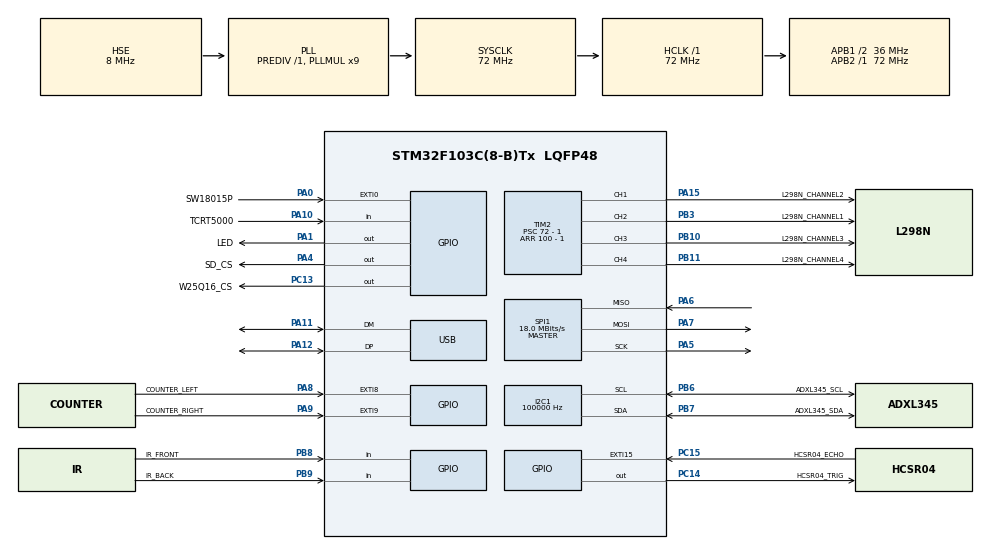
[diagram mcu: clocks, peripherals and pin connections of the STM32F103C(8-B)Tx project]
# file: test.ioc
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I2C1.ClockSpeed=100000
Mcu.Family=STM32F1
Mcu.Name=STM32F103C(8-B)Tx
Mcu.Package=LQFP48
NVIC.EXTI15_10_IRQn=true\:0\:0\:false\:false\:true\:true\:true
NVIC.EXTI9_5_IRQn=true\:0\:0\:false\:false\:true\:true\:true
NVIC.PriorityGroup=NVIC_PRIORITYGROUP_4
NVIC.USB_LP_CAN1_RX0_IRQn=true\:0\:0\:false\:false\:true\:false\:true
PA0-WKUP.GPIO_Label=SW18015P
PA0-WKUP.GPIO_ModeDefaultEXTI=GPIO_MODE_IT_FALLING
PA0-WKUP.GPIO_PuPd=GPIO_PULLUP
PA0-WKUP.Signal=GPXTI0
PA1.GPIO_Label=LED
PA1.Signal=GPIO_Output
PA10.GPIO_Label=TCRT5000
PA10.GPIO_PuPd=GPIO_PULLUP
PA10.Signal=GPIO_Input
PA11.Mode=Device
PA11.Signal=USB_DM
PA12.Mode=Device
PA12.Signal=USB_DP
PA13.Mode=Serial_Wire
PA13.Signal=SYS_JTMS-SWDIO
PA14.Mode=Serial_Wire
PA14.Signal=SYS_JTCK-SWCLK
PA15.GPIO_Label=L298N_CHANNEL2
PA15.Signal=S_TIM2_CH1_ETR
PA4.GPIO_Label=SD_CS
PA4.PinState=GPIO_PIN_SET
PA4.Signal=GPIO_Output
PA5.Mode=Full_Duplex_Master
PA5.Signal=SPI1_SCK
PA6.Mode=Full_Duplex_Master
PA6.Signal=SPI1_MISO
PA7.Mode=Full_Duplex_Master
PA7.Signal=SPI1_MOSI
PA8.GPIO_Label=COUNTER_LEFT
PA8.GPIO_ModeDefaultEXTI=GPIO_MODE_IT_RISING
PA8.GPIO_PuPd=GPIO_PULLDOWN
PA8.Signal=GPXTI8
PA9.GPIO_Label=COUNTER_RIGHT
PA9.GPIO_PuPd=GPIO_PULLDOWN
PA9.Signal=GPXTI9
PB10.GPIO_Label=L298N_CHANNEL3
PB10.Signal=S_TIM2_CH3
PB11.GPIO_Label=L298N_CHANNEL4
PB11.Signal=S_TIM2_CH4
PB3.GPIO_Label=L298N_CHANNEL1
PB3.Signal=S_TIM2_CH2
PB6.GPIO_Label=ADXL345_SCL
PB6.GPIO_Pu=GPIO_PULLUP
PB6.Mode=I2C
PB6.Signal=I2C1_SCL
PB7.GPIO_Label=ADXL345_SDA
PB7.GPIO_Pu=GPIO_PULLUP
PB7.Mode=I2C
PB7.Signal=I2C1_SDA
PB8.GPIO_Label=IR_FRONT
PB8.GPIO_PuPd=GPIO_PULLUP
PB8.Signal=GPIO_Input
PB9.GPIO_Label=IR_BACK
PB9.GPIO_PuPd=GPIO_PULLUP
PB9.Signal=GPIO_Input
PC13-TAMPER-RTC.GPIO_Label=W25Q16_CS
PC13-TAMPER-RTC.PinState=GPIO_PIN_SET
PC13-TAMPER-RTC.Signal=GPIO_Output
PC14-OSC32_IN.GPIO_Label=HCSR04_TRIG
PC14-OSC32_IN.Signal=GPIO_Output
PC15-OSC32_OUT.GPIO_Label=HCSR04_ECHO
PC15-OSC32_OUT.GPIO_ModeDefaultEXTI=GPIO_MODE_IT_RISING_FALLING
PC15-OSC32_OUT.GPIO_PuPd=GPIO_PULLDOWN
PC15-OSC32_OUT.Signal=GPXTI15
PD0-OSC_IN.Mode=HSE-External-Oscillator
PD0-OSC_IN.Signal=RCC_OSC_IN
PD1-OSC_OUT.Mode=HSE-External-Oscillator
PD1-OSC_OUT.Signal=RCC_OSC_OUT
ProjectManager.HeapSize=0x200
ProjectManager.StackSize=0x400
ProjectManager.TargetToolchain=STM32CubeIDE
RCC.AHBFreq_Value=72000000
RCC.APB1CLKDivider=RCC_HCLK_DIV2
RCC.APB1Freq_Value=36000000
RCC.APB1TimFreq_Value=72000000
RCC.APB2Freq_Value=72000000
RCC.APB2TimFreq_Value=72000000
RCC.HCLKFreq_Value=72000000
RCC.PLLMUL=RCC_PLL_MUL9
RCC.PLLSourceVirtual=RCC_PLLSOURCE_HSE
RCC.SYSCLKFreq_VALUE=72000000
RCC.SYSCLKSource=RCC_SYSCLKSOURCE_PLLCLK
RCC.USBFreq_Value=48000000
RCC.USBPrescaler=RCC_USBCLKSOURCE_PLL_DIV1_5
SH.S_TIM2_CH1_ETR.0=TIM2_CH1,PWM Generation1 CH1
SH.S_TIM2_CH2.0=TIM2_CH2,PWM Generation2 CH2
SH.S_TIM2_CH3.0=TIM2_CH3,PWM Generation3 CH3
SH.S_TIM2_CH4.0=TIM2_CH4,PWM Generation4 CH4
SPI1.BaudRatePrescaler=SPI_BAUDRATEPRESCALER_4
SPI1.CalculateBaudRate=18.0 MBits/s
SPI1.Direction=SPI_DIRECTION_2LINES
SPI1.Mode=SPI_MODE_MASTER
SPI1.VirtualType=VM_MASTER
TIM2.Channel-PWM\ Generation1\ CH1=TIM_CHANNEL_1
TIM2.Channel-PWM\ Generation2\ CH2=TIM_CHANNEL_2
TIM2.Channel-PWM\ Generation3\ CH3=TIM_CHANNEL_3
TIM2.Channel-PWM\ Generation4\ CH4=TIM_CHANNEL_4
TIM2.Period=100 - 1
TIM2.Prescaler=72 - 1
USB_DEVICE.CLASS_NAME_FS=CDC
USB_DEVICE.VirtualMode=Cdc
USB_DEVICE.VirtualModeFS=Cdc_FS
VP_USB_DEVICE_VS_USB_DEVICE_CDC_FS.Mode=CDC_FS
board=custom

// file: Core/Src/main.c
/* USER CODE BEGIN Header */
/**
  ******************************************************************************
  * @file           : main.c
  * @brief          : Main program body
  ******************************************************************************
  * @attention
  *
  * <h2><center>&copy; Copyright (c) 2021 STMicroelectronics.
  * All rights reserved.</center></h2>
  *
  * This software component is licensed by ST under BSD 3-Clause license,
  * the "License"; You may not use this file except in compliance with the
  * License. You may obtain a copy of the License at:
  *                        opensource.org/licenses/BSD-3-Clause
  *
  ******************************************************************************
  */
/* USER CODE END Header */
#include "main.h"
#include "i2c.h"
#include "spi.h"
#include "tim.h"
#include "usb_device.h"
#include "gpio.h"

/* USER CODE BEGIN Includes */
#include "usbd_cdc_if.h"

#include "arm_math.h"

#include "util.h"
#include "log.h"
#include "dsp.h"
/* USER CODE END Includes */

/* USER CODE BEGIN PV */
static size_t g_log_write_max_retry = 4;
/* USER CODE END PV */

void SystemClock_Config(void);
/* USER CODE BEGIN PFP */
extern int test_linear_regression(void);
extern int test_locally_weighted_linear_regression(void);
/* USER CODE END PFP */

/* USER CODE BEGIN 0 */

static int init(void)
{
  return 1;
}

static int test_log(void)
{
  static const char msg[] = "test log write\n";

  if (_log_write(msg, ARRAYSIZE(msg)) == 0)
  {
    g_log_write_max_retry = 1;
  }

  log_verbose("verbose level = %d", LOG_VERBOSE);
  HAL_Delay(100);
  log_debug("debug level = %d", LOG_DEBUG);
  HAL_Delay(100);
  log_info("info level = %d", LOG_INFO);
  HAL_Delay(100);
  log_warn("warn level = %d", LOG_WARN);
  HAL_Delay(100);
  log_error("error level = %d", LOG_ERROR);
  HAL_Delay(100);
  log_assert(1);

  return 1;
}

static int test(void)
{
  int succ = 1;

  succ &= test_log();
  succ &= test_linear_regression();
  succ &= test_locally_weighted_linear_regression();
  return succ;
}

/* USER CODE END 0 */

int main(void)
{

  /* MCU Configuration--------------------------------------------------------*/

  /* Reset of all peripherals, Initializes the Flash interface and the Systick. */
  HAL_Init();

  /* Configure the system clock */
  SystemClock_Config();

  /* Initialize all configured peripherals */
  MX_GPIO_Init();
  MX_TIM2_Init();
  MX_I2C1_Init();
  MX_SPI1_Init();
  MX_USB_DEVICE_Init();
  /* USER CODE BEGIN 2 */
  init();

  HAL_Delay(10000);
  test();
  /* USER CODE END 2 */

  /* Infinite loop */
  while (1)
  {

  }
}

void SystemClock_Config(void)
{
  RCC_OscInitTypeDef RCC_OscInitStruct = {0};
  RCC_ClkInitTypeDef RCC_ClkInitStruct = {0};
  RCC_PeriphCLKInitTypeDef PeriphClkInit = {0};

  /** Initializes the RCC Oscillators according to the specified parameters
  * in the RCC_OscInitTypeDef structure.
  */
  RCC_OscInitStruct.OscillatorType = RCC_OSCILLATORTYPE_HSE;
  RCC_OscInitStruct.HSEState = RCC_HSE_ON;
  RCC_OscInitStruct.HSEPredivValue = RCC_HSE_PREDIV_DIV1;
  RCC_OscInitStruct.HSIState = RCC_HSI_ON;
  RCC_OscInitStruct.PLL.PLLState = RCC_PLL_ON;
  RCC_OscInitStruct.PLL.PLLSource = RCC_PLLSOURCE_HSE;
  RCC_OscInitStruct.PLL.PLLMUL = RCC_PLL_MUL9;
  if (HAL_RCC_OscConfig(&RCC_OscInitStruct) != HAL_OK)
  {
    Error_Handler();
  }
  /** Initializes the CPU, AHB and APB buses clocks
  */
  RCC_ClkInitStruct.ClockType = RCC_CLOCKTYPE_HCLK|RCC_CLOCKTYPE_SYSCLK
                              |RCC_CLOCKTYPE_PCLK1|RCC_CLOCKTYPE_PCLK2;
  RCC_ClkInitStruct.SYSCLKSource = RCC_SYSCLKSOURCE_PLLCLK;
  RCC_ClkInitStruct.AHBCLKDivider = RCC_SYSCLK_DIV1;
  RCC_ClkInitStruct.APB1CLKDivider = RCC_HCLK_DIV2;
  RCC_ClkInitStruct.APB2CLKDivider = RCC_HCLK_DIV1;

  if (HAL_RCC_ClockConfig(&RCC_ClkInitStruct, FLASH_LATENCY_2) != HAL_OK)
  {
    Error_Handler();
  }
  PeriphClkInit.PeriphClockSelection = RCC_PERIPHCLK_USB;
  PeriphClkInit.UsbClockSelection = RCC_USBCLKSOURCE_PLL_DIV1_5;
  if (HAL_RCCEx_PeriphCLKConfig(&PeriphClkInit) != HAL_OK)
  {
    Error_Handler();
  }
}

/* USER CODE BEGIN 4 */

size_t _log_write(const void *buf, size_t len)
{
  uint8_t status = CDC_Transmit_FS((uint8_t *)buf, (uint16_t)len);
  size_t delay = 10;
  for (size_t i = 1; (status != USBD_OK) && (i < g_log_write_max_retry); ++i)
  {
    HAL_Delay(delay);
    status = CDC_Transmit_FS((uint8_t *)buf, (uint16_t)len);
    delay += delay;
  }

  return (USBD_OK == status) ? len : 0;
}

void _log_abort(void)
{
  log_error("system panic! please reset");
  while (1);
}
/* USER CODE END 4 */

void Error_Handler(void)
{
  __disable_irq();
  while (1)
  {
  }
}
